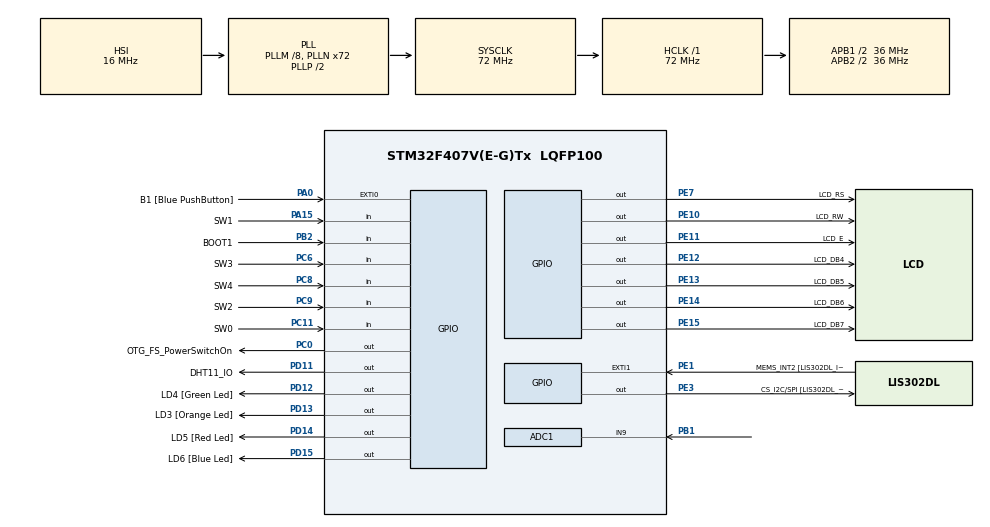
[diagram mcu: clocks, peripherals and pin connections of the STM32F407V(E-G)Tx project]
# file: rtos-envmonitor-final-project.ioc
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ADC1.Channel-0\#ChannelRegularConversion=ADC_CHANNEL_9
ADC1.NbrOfConversionFlag=1
ADC1.Rank-0\#ChannelRegularConversion=1
ADC1.SamplingTime-0\#ChannelRegularConversion=ADC_SAMPLETIME_3CYCLES
ADC1.master=1
FREERTOS.Tasks01=defaultTask,24,128,StartDefaultTask,Default,NULL,Dynamic,NULL,NULL
Mcu.Family=STM32F4
Mcu.Name=STM32F407V(E-G)Tx
Mcu.Package=LQFP100
NVIC.PriorityGroup=NVIC_PRIORITYGROUP_4
NVIC.TIM6_DAC_IRQn=true\:15\:0\:false\:false\:true\:false\:false\:true\:true
NVIC.TimeBase=TIM6_DAC_IRQn
NVIC.TimeBaseIP=TIM6
PA0-WKUP.GPIO_Label=B1 [Blue PushButton]
PA0-WKUP.Signal=GPXTI0
PA13.GPIO_Label=SWDIO
PA13.Mode=Trace_Asynchronous_SW
PA13.Signal=SYS_JTMS-SWDIO
PA14.GPIO_Label=SWCLK
PA14.Mode=Trace_Asynchronous_SW
PA14.Signal=SYS_JTCK-SWCLK
PA15.GPIO_Label=SW1
PA15.Signal=GPIO_Input
PB1.Signal=ADCx_IN9
PB2.GPIO_Label=BOOT1
PB2.GPIO_Mode=GPIO_MODE_INPUT
PB2.GPIO_PuPd=GPIO_NOPULL
PB2.Signal=GPIO_Input
PB3.GPIO_Label=SWO
PB3.Mode=Trace_Asynchronous_SW
PB3.Signal=SYS_JTDO-SWO
PC0.GPIO_Label=OTG_FS_PowerSwitchOn
PC0.GPIO_PuPd=GPIO_NOPULL
PC0.GPIO_Speed=GPIO_SPEED_FREQ_LOW
PC0.PinState=GPIO_PIN_SET
PC0.Signal=GPIO_Output
PC11.GPIO_Label=SW0
PC11.Signal=GPIO_Input
PC14-OSC32_IN.GPIO_Label=PC14-OSC32_IN
PC14-OSC32_IN.Mode=LSE-External-Oscillator
PC14-OSC32_IN.Signal=RCC_OSC32_IN
PC15-OSC32_OUT.GPIO_Label=PC15-OSC32_OUT
PC15-OSC32_OUT.Mode=LSE-External-Oscillator
PC15-OSC32_OUT.Signal=RCC_OSC32_OUT
PC6.GPIO_Label=SW3
PC6.Signal=GPIO_Input
PC8.GPIO_Label=SW4
PC8.Signal=GPIO_Input
PC9.GPIO_Label=SW2
PC9.Signal=GPIO_Input
PD11.GPIO_Label=DHT11_IO
PD11.Signal=GPIO_Output
PD12.GPIO_Label=LD4 [Green Led]
PD12.GPIO_PuPd=GPIO_NOPULL
PD12.GPIO_Speed=GPIO_SPEED_FREQ_LOW
PD12.Signal=GPIO_Output
PD13.GPIO_Label=LD3 [Orange Led]
PD13.GPIO_PuPd=GPIO_NOPULL
PD13.GPIO_Speed=GPIO_SPEED_FREQ_LOW
PD13.Signal=GPIO_Output
PD14.GPIO_Label=LD5 [Red Led]
PD14.GPIO_PuPd=GPIO_NOPULL
PD14.GPIO_Speed=GPIO_SPEED_FREQ_LOW
PD14.Signal=GPIO_Output
PD15.GPIO_Label=LD6 [Blue Led]
PD15.GPIO_PuPd=GPIO_NOPULL
PD15.GPIO_Speed=GPIO_SPEED_FREQ_LOW
PD15.Signal=GPIO_Output
PE1.GPIO_Label=MEMS_INT2 [LIS302DL_INT2]
PE1.GPIO_ModeDefaultEXTI=GPIO_MODE_EVT_RISING
PE1.GPIO_PuPd=GPIO_NOPULL
PE1.Signal=GPXTI1
PE10.GPIO_Label=LCD_RW
PE10.Signal=GPIO_Output
PE11.GPIO_Label=LCD_E
PE11.Signal=GPIO_Output
PE12.GPIO_Label=LCD_DB4
PE12.Signal=GPIO_Output
PE13.GPIO_Label=LCD_DB5
PE13.Signal=GPIO_Output
PE14.GPIO_Label=LCD_DB6
PE14.Signal=GPIO_Output
PE15.GPIO_Label=LCD_DB7
PE15.Signal=GPIO_Output
PE3.GPIO_Label=CS_I2C/SPI [LIS302DL_CS_I2C/SPI]
PE3.GPIO_PuPd=GPIO_NOPULL
PE3.GPIO_Speed=GPIO_SPEED_FREQ_LOW
PE3.Signal=GPIO_Output
PE7.GPIO_Label=LCD_RS
PE7.Signal=GPIO_Output
PH0-OSC_IN.GPIO_Label=PH0-OSC_IN
PH0-OSC_IN.Mode=HSE-External-Oscillator
PH0-OSC_IN.Signal=RCC_OSC_IN
PH1-OSC_OUT.GPIO_Label=PH1-OSC_OUT
PH1-OSC_OUT.Mode=HSE-External-Oscillator
PH1-OSC_OUT.Signal=RCC_OSC_OUT
ProjectManager.HeapSize=0x200
ProjectManager.StackSize=0x400
ProjectManager.TargetToolchain=STM32CubeIDE
RCC.48MHZClocksFreq_Value=20571428.57142857
RCC.AHBFreq_Value=72000000
RCC.APB1CLKDivider=RCC_HCLK_DIV2
RCC.APB1Freq_Value=36000000
RCC.APB1TimFreq_Value=72000000
RCC.APB2CLKDivider=RCC_HCLK_DIV2
RCC.APB2Freq_Value=36000000
RCC.APB2TimFreq_Value=72000000
RCC.CortexFreq_Value=72000000
RCC.HCLKFreq_Value=72000000
RCC.HSE_VALUE=8000000
RCC.HSI_VALUE=16000000
RCC.PLLM=8
RCC.PLLN=72
RCC.PLLQ=7
RCC.SYSCLKFreq_VALUE=72000000
RCC.SYSCLKSource=RCC_SYSCLKSOURCE_PLLCLK
RCC.VCOOutputFreq_Value=144000000
SH.ADCx_IN9.0=ADC1_IN9,IN9
VP_FREERTOS_VS_CMSIS_V2.Mode=CMSIS_V2
VP_SYS_VS_tim6.Mode=TIM6
board=STM32F407G-DISC1

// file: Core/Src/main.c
/* USER CODE BEGIN Header */
/**
  ******************************************************************************
  * @file           : main.c
  * @brief          : Main program body
  ******************************************************************************
  * @attention
  *
  * Copyright (c) 2025 STMicroelectronics.
  * All rights reserved.
  *
  * This software is licensed under terms that can be found in the LICENSE file
  * in the root directory of this software component.
  * If no LICENSE file comes with this software, it is provided AS-IS.
  *
  ******************************************************************************
  */
/* USER CODE END Header */
#include "main.h"
#include "cmsis_os.h"
#include "adc.h"
#include "gpio.h"
#include "lcd.h"
#include "DHT.h"
#include "sensors.h"
#include "project_logic.h"

/* USER CODE BEGIN PD */
#define USE_FREE_RTOS
/* USER CODE END PD */

void SystemClock_Config(void);

int main(void)
{

  /* MCU Configuration--------------------------------------------------------*/

  /* Reset of all peripherals, Initializes the Flash interface and the Systick. */
  HAL_Init();

  /* Configure the system clock */
  SystemClock_Config();

  /* Initialize all configured peripherals */
  MX_GPIO_Init();
  MX_ADC1_Init();
  /* USER CODE BEGIN 2 */

  LCD_Init(); //inicjalizacja wysietlacza
  ProjectLogic_Init();
  #ifdef USE_FREE_RTOS
  /* USER CODE END 2 */

  /* Init scheduler */
  osKernelInitialize();

  /* Call init function for freertos objects (in cmsis_os2.c) */
  MX_FREERTOS_Init();

  /* Start scheduler */
  osKernelStart();

  /* We should never get here as control is now taken by the scheduler */

  /* Infinite loop */
  /* USER CODE BEGIN WHILE */
#else
  LCD_WriteCommand(LCD_CLEAR);
  HAL_Delay(5);
  while (1)
  {

	ProjectLogic_Update();
    LCD_WriteCommand(LCD_CLEAR);
    LCD_WriteCommand(LCD_DDRAM_SET);
    LCD_WriteText(line);

    HAL_Delay(200);
    /* USER CODE END WHILE */

    /* USER CODE BEGIN 3 */
  }
#endif

  /* USER CODE END 3 */
}

void SystemClock_Config(void)
{
  RCC_OscInitTypeDef RCC_OscInitStruct = {0};
  RCC_ClkInitTypeDef RCC_ClkInitStruct = {0};

  /** Configure the main internal regulator output voltage
  */
  __HAL_RCC_PWR_CLK_ENABLE();
  __HAL_PWR_VOLTAGESCALING_CONFIG(PWR_REGULATOR_VOLTAGE_SCALE1);

  /** Initializes the RCC Oscillators according to the specified parameters
  * in the RCC_OscInitTypeDef structure.
  */
  RCC_OscInitStruct.OscillatorType = RCC_OSCILLATORTYPE_HSI;
  RCC_OscInitStruct.HSIState = RCC_HSI_ON;
  RCC_OscInitStruct.HSICalibrationValue = RCC_HSICALIBRATION_DEFAULT;
  RCC_OscInitStruct.PLL.PLLState = RCC_PLL_ON;
  RCC_OscInitStruct.PLL.PLLSource = RCC_PLLSOURCE_HSI;
  RCC_OscInitStruct.PLL.PLLM = 8;
  RCC_OscInitStruct.PLL.PLLN = 72;
  RCC_OscInitStruct.PLL.PLLP = RCC_PLLP_DIV2;
  RCC_OscInitStruct.PLL.PLLQ = 7;
  if (HAL_RCC_OscConfig(&RCC_OscInitStruct) != HAL_OK)
  {
    Error_Handler();
  }

  /** Initializes the CPU, AHB and APB buses clocks
  */
  RCC_ClkInitStruct.ClockType = RCC_CLOCKTYPE_HCLK|RCC_CLOCKTYPE_SYSCLK
                              |RCC_CLOCKTYPE_PCLK1|RCC_CLOCKTYPE_PCLK2;
  RCC_ClkInitStruct.SYSCLKSource = RCC_SYSCLKSOURCE_PLLCLK;
  RCC_ClkInitStruct.AHBCLKDivider = RCC_SYSCLK_DIV1;
  RCC_ClkInitStruct.APB1CLKDivider = RCC_HCLK_DIV2;
  RCC_ClkInitStruct.APB2CLKDivider = RCC_HCLK_DIV2;

  if (HAL_RCC_ClockConfig(&RCC_ClkInitStruct, FLASH_LATENCY_2) != HAL_OK)
  {
    Error_Handler();
  }
}

void HAL_TIM_PeriodElapsedCallback(TIM_HandleTypeDef *htim)
{
  if (htim->Instance == TIM6)
  {
    HAL_IncTick();
  }
}

void Error_Handler(void)
{
  __disable_irq();
  while (1)
  {
  }
}

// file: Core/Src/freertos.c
/* USER CODE BEGIN Header */
/**
  ******************************************************************************
  * File Name          : freertos.c
  * Description        : Code for freertos applications
  ******************************************************************************
  * @attention
  *
  * Copyright (c) 2025 STMicroelectronics.
  * All rights reserved.
  *
  * This software is licensed under terms that can be found in the LICENSE file
  * in the root directory of this software component.
  * If no LICENSE file comes with this software, it is provided AS-IS.
  *
  ******************************************************************************
  */
/* USER CODE END Header */

#include "FreeRTOS.h"
#include "task.h"
#include "main.h"
#include "lcd.h"
#include "project_logic.h"
#include "cmsis_os.h"
#include "sensors.h"

/* USER CODE BEGIN Variables */
osMutexId_t lcdMutexHandle;
osThreadId_t sensorTaskHandle;
osThreadId_t lcdTaskHandle;

const osThreadAttr_t sensorTask_attributes = {
  .name = "SensorTask",
  .stack_size = 512 * 4,
  .priority = (osPriority_t) osPriorityNormal,
};

const osThreadAttr_t lcdTask_attributes = {
  .name = "LcdTask",
  .stack_size = 256 * 4,
  .priority = (osPriority_t) osPriorityNormal - 1,
};
/* USER CODE END Variables */
/* Definitions for defaultTask */
osThreadId_t defaultTaskHandle;
const osThreadAttr_t defaultTask_attributes = {
  .name = "defaultTask",
  .stack_size = 128 * 4,
  .priority = (osPriority_t) osPriorityNormal,
};

void StartDefaultTask(void *argument);
void StartSensorTask(void *argument);
void StartLcdTask(void *argument);

void MX_FREERTOS_Init(void); /* (MISRA C 2004 rule 8.1) */

void MX_FREERTOS_Init(void) {

  /* USER CODE BEGIN RTOS_MUTEX */
  /* add mutexes, ... */
    lcdMutexHandle = osMutexNew(NULL); // Optional mutex
  /* USER CODE END RTOS_MUTEX */

  /* Create the thread(s) */
  /* creation of defaultTask */
  defaultTaskHandle = osThreadNew(StartDefaultTask, NULL, &defaultTask_attributes);

  /* USER CODE BEGIN RTOS_THREADS */
  /* add threads, ... */
  sensorTaskHandle = osThreadNew(StartSensorTask, NULL, &sensorTask_attributes);
  lcdTaskHandle = osThreadNew(StartLcdTask, NULL, &lcdTask_attributes);
  /* USER CODE END RTOS_THREADS */

}

void StartDefaultTask(void *argument)
{
  for(;;)
  {
    osDelay(1);
  }
}

/* USER CODE BEGIN Application */
void StartSensorTask(void *argument)
{
    for(;;)
    {
        if (osMutexAcquire(lcdMutexHandle, pdMS_TO_TICKS(10)) == osOK) {
            ProjectLogic_Update();
            osMutexRelease(lcdMutexHandle);
        }
        osDelay(pdMS_TO_TICKS(100));
    }
}

void StartLcdTask(void *argument)
{
    char local_line_copy[LCD_COLS + 1];
    char prev_line_displayed[LCD_COLS + 1] = {0};
    int  current_display_mode_copy = -1;
    int  mode_from_sensor_task;

    LCD_Init();
    LCD_WriteCommand(LCD_CLEAR);
    HAL_Delay(5);

    for(;;)
    {
        int mode_changed_by_sensor_task = 0;

        if (osMutexAcquire(lcdMutexHandle, pdMS_TO_TICKS(10)) == osOK) {
            strncpy(local_line_copy, line, LCD_COLS);
            local_line_copy[LCD_COLS] = '\0';
            mode_from_sensor_task = (int)display_mode;
            osMutexRelease(lcdMutexHandle);

            if (strcmp(local_line_copy, prev_line_displayed) != 0 || current_display_mode_copy != mode_from_sensor_task) {
                if (current_display_mode_copy != mode_from_sensor_task) {
                }
                LCD_WriteCommand(LCD_DDRAM_SET);
                LCD_WriteText(local_line_copy);
                strncpy(prev_line_displayed, local_line_copy, LCD_COLS + 1);
                current_display_mode_copy = mode_from_sensor_task;
            }
        }
        osDelay(pdMS_TO_TICKS(50));
    }
}

/* USER CODE END Application */
